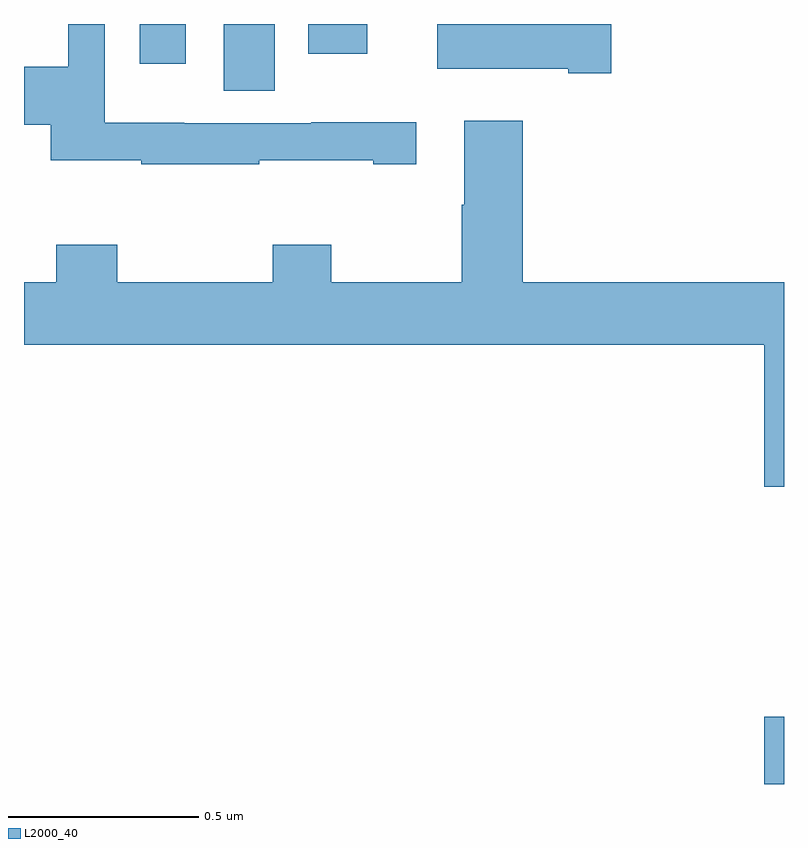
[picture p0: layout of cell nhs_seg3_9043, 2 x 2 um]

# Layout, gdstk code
import gdstk
lib = gdstk.Library(unit=1e-6, precision=1e-09)
def R(c, l, rs):  # rectangles x0, y0, x1, y1
    for r in rs: c.add(gdstk.rectangle(r[:2], r[2:], *l))
def P(c, l, *ps):  # polygons
    for p in ps: c.add(gdstk.Polygon(p, *l))
L2000_40 = (2000, 40)

nhs_seg3_9043 = lib.new_cell('nhs_seg3_9043')
R(nhs_seg3_9043, L2000_40, [(224.948,726.4,225,726.577), (223.526,728.224,223.66,728.4), (223.304,728.295,223.426,728.4), (223.748,728.322,223.903,728.4)])
P(nhs_seg3_9043, L2000_40, [(224.545,728.4),(224.087,728.4),(224.087,728.282),(224.432,728.282),(224.432,728.27),(224.545,728.27)],
  [(223.619,728.041),(223.919,728.041),(223.919,728.031),(224.032,728.031),(224.032,728.141),(223.756,728.141),(223.756,728.139),(223.422,728.139),(223.422,728.14),(223.212,728.14),(223.212,728.4),(223.116,728.4),(223.116,728.288),(223,728.288),(223,728.135),(223.07,728.135),(223.07,728.041),(223.309,728.041),(223.309,728.031),(223.619,728.031)],
  [(225,727.72),(224.312,727.72),(224.312,728.146),(224.159,728.146),(224.159,727.925),(224.152,727.925),(224.152,727.72),(223.809,727.72),(223.809,727.819),(223.654,727.819),(223.654,727.72),(223.245,727.72),(223.245,727.819),(223.085,727.819),(223.085,727.72),(223,727.72),(223,727.556),(224.948,727.556),(224.948,727.182),(225,727.182)])

lib.write_gds('nhs_seg3_9043.gds')
